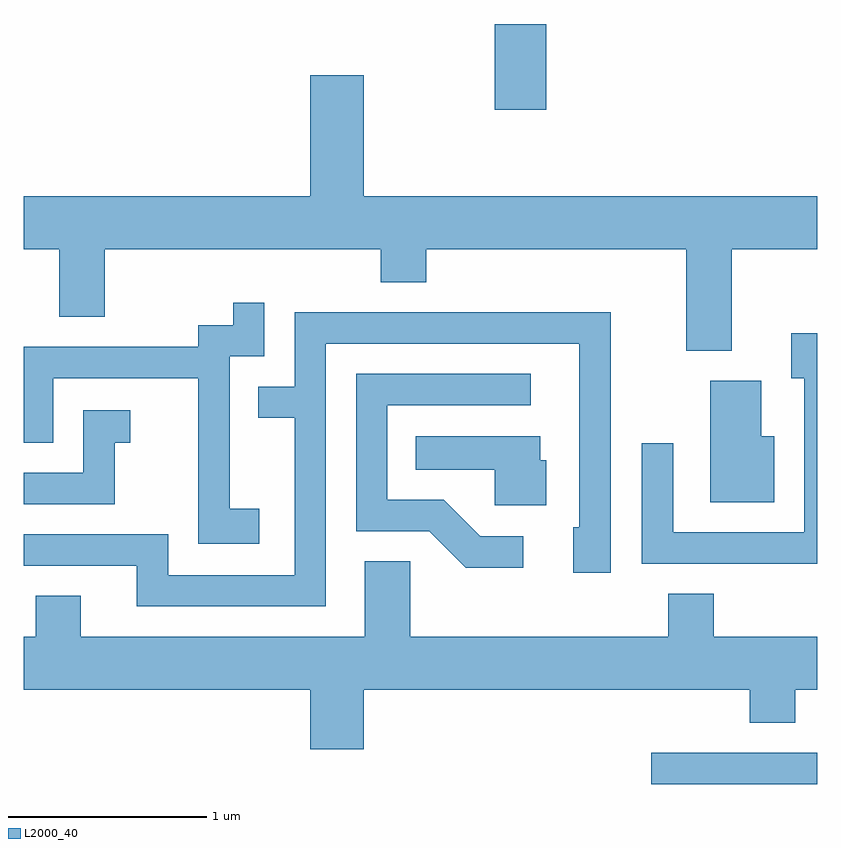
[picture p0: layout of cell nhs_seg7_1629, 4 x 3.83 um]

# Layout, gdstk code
import gdstk
lib = gdstk.Library(unit=1e-6, precision=1e-09)
def R(c, l, rs):  # rectangles x0, y0, x1, y1
    for r in rs: c.add(gdstk.rectangle(r[:2], r[2:], *l))
def P(c, l, *ps):  # polygons
    for p in ps: c.add(gdstk.Polygon(p, *l))
L2000_40 = (2000, 40)

nhs_seg7_1629 = lib.new_cell('nhs_seg7_1629')
R(nhs_seg7_1629, L2000_40, [(236.773,1800.421,237.611,1800.579), (235.986,1803.821,236.244,1804.252)])
P(nhs_seg7_1629, L2000_40, [(235.324,1803.994),(235.056,1803.994),(235.056,1803.384),(233.611,1803.384),(233.611,1803.116),(233.791,1803.116),(233.791,1802.776),(234.019,1802.776),(234.019,1803.116),(235.411,1803.116),(235.411,1802.951),(235.639,1802.951),(235.639,1803.116),(236.951,1803.116),(236.951,1802.606),(237.179,1802.606),(237.179,1803.116),(237.611,1803.116),(237.611,1803.384),(235.324,1803.384)],
  [(234.799,1801.809),(234.649,1801.809),(234.649,1802.576),(234.824,1802.576),(234.824,1802.848),(234.666,1802.848),(234.666,1802.734),(234.491,1802.734),(234.491,1802.624),(233.611,1802.624),(233.611,1802.141),(233.759,1802.141),(233.759,1802.466),(234.491,1802.466),(234.491,1801.631),(234.799,1801.631)],
  [(235.134,1802.641),(236.411,1802.641),(236.411,1801.714),(236.381,1801.714),(236.381,1801.486),(236.569,1801.486),(236.569,1802.799),(234.976,1802.799),(234.976,1802.424),(234.793,1802.424),(234.793,1802.266),(234.976,1802.266),(234.976,1801.474),(234.339,1801.474),(234.339,1801.679),(233.611,1801.679),(233.611,1801.521),(234.181,1801.521),(234.181,1801.316),(235.134,1801.316)],
  [(237.611,1802.694),(237.481,1802.694),(237.481,1802.466),(237.546,1802.466),(237.546,1801.689),(236.884,1801.689),(236.884,1802.138),(236.726,1802.138),(236.726,1801.531),(237.611,1801.531)],
  [(236.128,1801.669),(235.912,1801.669),(235.727,1801.854),(235.444,1801.854),(235.444,1802.331),(236.168,1802.331),(236.168,1802.489),(235.286,1802.489),(235.286,1801.696),(235.654,1801.696),(235.839,1801.511),(236.128,1801.511)],
  [(237.394,1802.174),(237.329,1802.174),(237.329,1802.454),(237.071,1802.454),(237.071,1801.841),(237.394,1801.841)],
  [(234.069,1802.141),(234.148,1802.141),(234.148,1802.304),(233.911,1802.304),(233.911,1801.989),(233.611,1801.989),(233.611,1801.831),(234.069,1801.831)],
  [(236.244,1802.054),(236.214,1802.054),(236.214,1802.174),(235.588,1802.174),(235.588,1802.006),(235.986,1802.006),(235.986,1801.826),(236.244,1801.826)],
  [(237.271,1800.731),(237.499,1800.731),(237.499,1800.896),(237.611,1800.896),(237.611,1801.164),(237.089,1801.164),(237.089,1801.379),(236.861,1801.379),(236.861,1801.164),(235.559,1801.164),(235.559,1801.544),(235.331,1801.544),(235.331,1801.164),(233.899,1801.164),(233.899,1801.369),(233.671,1801.369),(233.671,1801.164),(233.611,1801.164),(233.611,1800.896),(235.056,1800.896),(235.056,1800.596),(235.324,1800.596),(235.324,1800.896),(237.271,1800.896)])

lib.write_gds('nhs_seg7_1629.gds')
